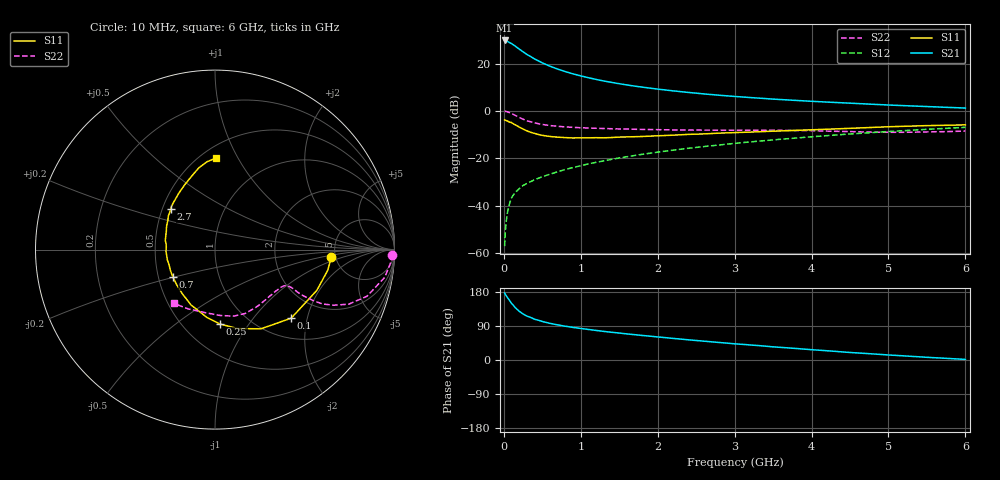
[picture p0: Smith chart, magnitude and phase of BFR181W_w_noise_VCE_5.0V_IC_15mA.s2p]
! Infineon Technologies  Discrete & RF Semiconductors
! BFR181W
! VCE =  5.0 V,  IC =  15 mA
! Common Emitter S-Parameters:  Jan 2017
# GHz  S  MA  R  50
!  f  S11  S21  S12  S22
! GHz  MAG  ANG  MAG  ANG  MAG  ANG  MAG  ANG
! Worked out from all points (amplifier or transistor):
!   77 points, 10 MHz to 6 GHz, reference 50 ohm
!   highest |S21| = 29.8 dB at 10 MHz (marker M1)
!   |S21| within 3 dB of that: start of sweep to 173.7 MHz
!   unconditionally stable (mu >= 1): 813.1 MHz to 2.725 GHz
!   at 130 MHz: K = 0.35, MSG = 31.5 dB, |S12| = -35.1 dB
!   at 2.2 GHz: K = 1.04, MAG = 11.3 dB, |S12| = -16.5 dB
!   at 6 GHz: K = 0.83, MSG = 4.1 dB, |S12| = -6.9 dB
!   lowest NFmin = 1.47 dB at 450 MHz
!   S11 on the Smith chart (normalised r, x): 10 MHz: 4.61, -0.65; 100 MHz: 1.41, -1.60; 250 MHz: 0.74, -0.74; 700 MHz: 0.60, -0.20; 2.7 GHz: 0.55, +0.28; 6 GHz: 0.59, +0.81
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0.01  0.6495 -3.6  30.87 177.0  0.0014 84.0  0.9852 -1.6
0.02  0.6389 -10.3  30.56 173.0  0.003 92.0  0.9849 -3.6
0.05  0.6112 -21.8  29.37 163.8  0.0076 78.4  0.9583 -9.3
0.1  0.571 -42.0  26.55 149.3  0.0147 73.3  0.8862 -17.0
0.15  0.5102 -59.9  23.37 137.9  0.0193 69.6  0.8047 -22.2
0.2  0.458 -73.9  20.29 128.6  0.0229 66.1  0.7305 -25.1
0.25  0.4155 -86.2  17.79 121.4  0.0268 63.0  0.6721 -26.8
0.3  0.3806 -96.8  15.65 115.9  0.0295 63.6  0.6239 -27.4
0.4  0.3361 -113.4  12.56 107.6  0.0354 64.2  0.56 -27.6
0.5  0.3059 -126.6  10.37 101.6  0.0408 65.1  0.5196 -27.3
0.6  0.2896 -137.6  8.834 96.7  0.0464 66.0  0.4936 -26.7
0.7  0.2802 -146.7  7.67 92.7  0.052 67.7  0.4752 -26.4
0.9  0.2696 -161.7  6.075 86.0  0.0639 68.7  0.4521 -26.6
1.1  0.2712 -173.3  5.042 80.6  0.0767 70.6  0.4377 -27.4
1.3  0.2716 177.0  4.303 75.5  0.0886 70.6  0.4271 -28.9
1.5  0.2815 169.6  3.769 71.1  0.102 70.9  0.4186 -30.9
2.1  0.304 151.1  2.779 59.0  0.142 69.5  0.4013 -39.6
2.7  0.3345 137.5  2.223 48.0  0.1845 66.9  0.3946 -50.5
3.1  0.3542 129.4  1.978 41.3  0.2146 64.6  0.3929 -57.8
4.1  0.4065 112.9  1.574 25.8  0.2934 57.5  0.3804 -76.5
5.1  0.4702 99.8  1.318 12.1  0.3763 48.9  0.3549 -102.3
6  0.5097 89.5  1.154 1.5  0.4521 40.0  0.3774 -127.4
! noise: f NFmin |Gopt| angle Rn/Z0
0.45  1.47  0.04  14  0.21
0.9  1.52  0.04  31  0.21
1.9  1.95  0.13  -139  0.22
2.4  2.2  0.16  -109  0.28
